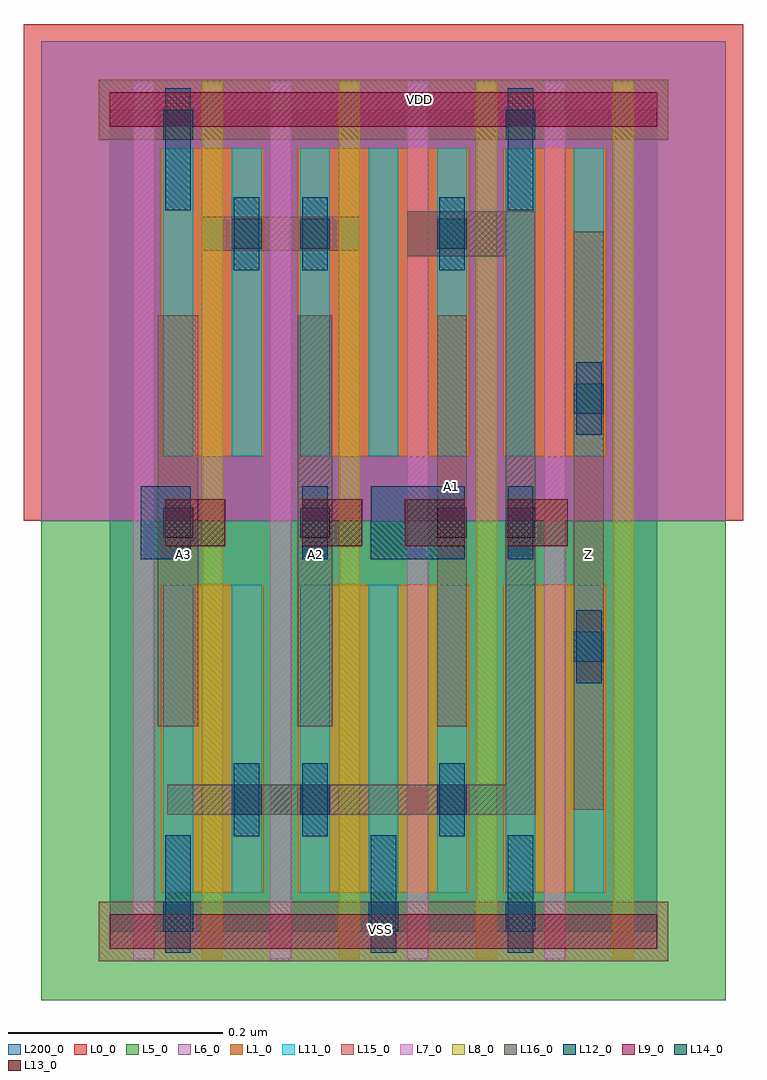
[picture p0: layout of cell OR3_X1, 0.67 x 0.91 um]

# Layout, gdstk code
import gdstk
lib = gdstk.Library(unit=1e-6, precision=1e-09)
def R(c, l, rs):  # rectangles x0, y0, x1, y1
    for r in rs: c.add(gdstk.rectangle(r[:2], r[2:], *l))
def A(c, l, x, y, w, h, nx, ny, dx, dy):  # array of equal rectangles
    R(c, l, [(x+i*dx, y+j*dy, x+i*dx+w, y+j*dy+h) for i in range(nx) for j in range(ny)])
def P(c, l, *ps):  # polygons
    for p in ps: c.add(gdstk.Polygon(p, *l))
L0_0 = (0, 0)
L1_0 = (1, 0)
L5_0 = (5, 0)
L6_0 = (6, 0)
L7_0 = (7, 0)
L8_0 = (8, 0)
L9_0 = (9, 0)
L11_0 = (11, 0)
L12_0 = (12, 0)
L13_0 = (13, 0)
L14_0 = (14, 0)
L15_0 = (15, 0)
L16_0 = (16, 0)
L200_0 = (200, 0)

or3_x1 = lib.new_cell('OR3_X1')
R(or3_x1, L0_0, [(-0.08,0.384,0.592,0.848)])
R(or3_x1, L1_0, [(0.048,0.036,0.144,0.324), (0.176,0.036,0.336,0.324), (0.368,0.036,0.464,0.324), (0.048,0.444,0.144,0.732), (0.176,0.444,0.336,0.732), (0.368,0.444,0.464,0.732)])
R(or3_x1, L5_0, [(-0.064,-0.064,0.576,0.384)])
R(or3_x1, L6_0, [(-0.064,0.384,0.576,0.832)])
A(or3_x1, L7_0, 0.022, -0.026, 0.02, 0.82, 4, 1, 0.128, 0)
A(or3_x1, L8_0, 0.086, -0.026, 0.02, 0.82, 4, 1, 0.128, 0)
R(or3_x1, L9_0, [(0,-0.016,0.512,0.016), (0,0.752,0.512,0.784)])
A(or3_x1, L11_0, 0.05, 0.036, 0.028, 0.288, 7, 2, 0.064, 0.408)
R(or3_x1, L12_0, [(0.052,-0.02,0.076,0.09), (0.244,-0.02,0.268,0.09), (0.372,-0.02,0.396,0.09), (0.116,0.089,0.14,0.157), (0.18,0.089,0.204,0.157), (0.308,0.089,0.332,0.157), (0.436,0.232,0.46,0.3), (0.029,0.348,0.076,0.416), (0.18,0.348,0.204,0.416), (0.244,0.348,0.332,0.416), (0.372,0.348,0.396,0.416), (0.436,0.464,0.46,0.532), (0.116,0.618,0.14,0.686), (0.18,0.618,0.204,0.686), (0.308,0.618,0.332,0.686), (0.052,0.674,0.076,0.788), (0.372,0.674,0.396,0.788)])
A(or3_x1, L13_0, 0.18, 0.36, 0.056, 0.044, 3, 1, 0.096, 0)
R(or3_x1, L13_0, [(0.052,0.36,0.108,0.404)])
A(or3_x1, L14_0, 0.05, 0.368, 0.028, 0.028, 3, 1, 0.128, 0)
R(or3_x1, L14_0, [(0.05,0,0.078,0.028), (0.242,0,0.27,0.028), (0.37,0,0.398,0.028), (0.114,0.109,0.142,0.137), (0.178,0.109,0.206,0.137), (0.306,0.109,0.334,0.137), (0.434,0.252,0.462,0.28), (0.37,0.368,0.398,0.396), (0.434,0.484,0.462,0.512), (0.114,0.638,0.142,0.666), (0.178,0.638,0.206,0.666), (0.306,0.638,0.334,0.666), (0.05,0.74,0.078,0.768), (0.37,0.74,0.398,0.768)])
R(or3_x1, L15_0, [(-0.01,-0.028,0.522,0.028), (0.434,0.114,0.462,0.654), (0.045,0.192,0.083,0.576), (0.306,0.192,0.334,0.576), (0.086,0.636,0.234,0.668), (-0.01,0.74,0.522,0.796)])
R(or3_x1, L16_0, [(0.176,0.192,0.208,0.576)])
P(or3_x1, L16_0, [(0.278,0.631),(0.37,0.631),(0.37,0.137),(0.054,0.137),(0.054,0.109),(0.398,0.109),(0.398,0.673),(0.278,0.673)])
R(or3_x1, L200_0, [(0,0,0.512,0.768)])
or3_x1.add(gdstk.Label('VSS', (0.253,0.002), layer=15, texttype=20))
or3_x1.add(gdstk.Label('A1', (0.32,0.416), layer=15, texttype=20))
or3_x1.add(gdstk.Label('Z', (0.448,0.352), layer=15, texttype=20))
or3_x1.add(gdstk.Label('A3', (0.069,0.352), layer=15, texttype=20))
or3_x1.add(gdstk.Label('VDD', (0.29,0.777), layer=15, texttype=20))
or3_x1.add(gdstk.Label('A2', (0.192,0.352), layer=16, texttype=20))

lib.write_gds('OR3_X1.gds')
